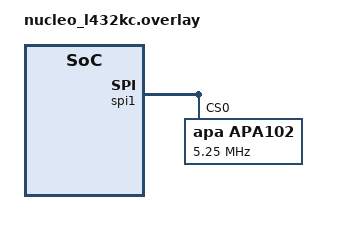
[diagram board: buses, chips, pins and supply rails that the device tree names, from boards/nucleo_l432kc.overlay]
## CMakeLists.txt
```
# SPDX-License-Identifier: Apache-2.0

cmake_minimum_required(VERSION 3.13.1)

find_package(Zephyr REQUIRED HINTS $ENV{ZEPHYR_BASE})
project(led_apa102)

FILE(GLOB app_sources src/*.c)
target_sources(app PRIVATE ${app_sources})
```

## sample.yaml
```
sample:
  description: Demonstration of the APA102 LED strip driver
  name: APA102 sample
tests:
  sample.drivers.led.apa102:
    platform_allow: nucleo_l432kc
    tags: LED
    depends_on: spi
```

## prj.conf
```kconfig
# This file expresses generic requirements ONLY; see README.rst.

CONFIG_LOG=y
CONFIG_LED_STRIP=y
CONFIG_SPI=y
CONFIG_APA102_STRIP=y
CONFIG_POLL=y
```

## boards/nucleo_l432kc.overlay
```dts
/*
 * Copyright (c) 2018 Nordic Semiconductor ASA
 *
 * SPDX-License-Identifier: Apache-2.0
 */

&spi1 {

	apa102@0 {
		compatible = "apa,apa102";
		reg = <0>;
		spi-max-frequency = <5250000>;
		label = "APA102";
	};
};
```

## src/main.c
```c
/*
 * Copyright (c) 2017 Linaro Limited
 * Copyright (c) 2018 Intel Corporation
 *
 * SPDX-License-Identifier: Apache-2.0
 */

#include <errno.h>
#include <string.h>

#define LOG_LEVEL 4
#include <logging/log.h>
LOG_MODULE_REGISTER(main);

#include <zephyr.h>
#include <drivers/led_strip.h>
#include <device.h>
#include <drivers/spi.h>
#include <sys/util.h>

/*
 * Number of RGB LEDs in the LED strip, adjust as needed.
 */
#define STRIP_NUM_LEDS 20

#define DELAY_TIME K_MSEC(40)

static const struct led_rgb colors[] = {
	{ .r = 0xff, .g = 0x00, .b = 0x00, }, /* red */
	{ .r = 0x00, .g = 0xff, .b = 0x00, }, /* green */
	{ .r = 0x00, .g = 0x00, .b = 0xff, }, /* blue */
};

static const struct led_rgb black = {
	.r = 0x00,
	.g = 0x00,
	.b = 0x00,
};

struct led_rgb strip_colors[STRIP_NUM_LEDS];

const struct led_rgb *color_at(size_t time, size_t i)
{
	size_t rgb_start = time % STRIP_NUM_LEDS;

	if (rgb_start <= i && i < rgb_start + ARRAY_SIZE(colors)) {
		return &colors[i - rgb_start];
	} else {
		return &black;
	}
}

#define DELAY_TIME K_MSEC(40)
void main(void)
{
	const struct device *strip;
	size_t i, time;

	strip = DEVICE_DT_GET_ANY(apa_apa102);
	if (!strip) {
		LOG_ERR("LED strip device not found");
		return;
	} else if (!device_is_ready(strip)) {
		LOG_ERR("LED strip device %s is not ready", strip->name);
		return;
	} else {
		LOG_INF("Found LED strip device %s", strip->name);
	}

	/*
	 * Display a pattern that "walks" the three primary colors
	 * down the strip until it reaches the end, then starts at the
	 * beginning. This has the effect of moving it around in a
	 * circle in the case of rings of pixels.
	 */
	LOG_INF("Displaying pattern on strip");
	time = 0;
	while (1) {
		for (i = 0; i < STRIP_NUM_LEDS; i++) {
			memcpy(&strip_colors[i], color_at(time, i),
			       sizeof(strip_colors[i]));
		}
		led_strip_update_rgb(strip, strip_colors, STRIP_NUM_LEDS);
		k_sleep(DELAY_TIME);
		time++;
	}
}
```
